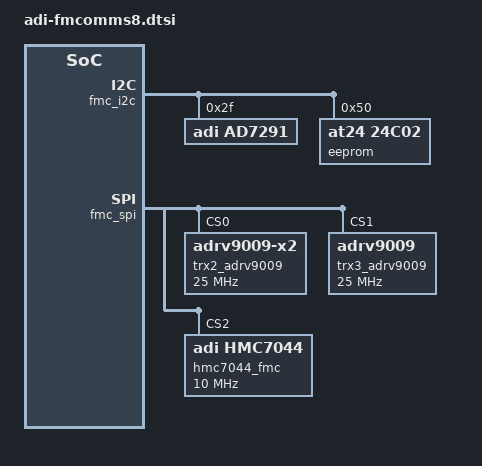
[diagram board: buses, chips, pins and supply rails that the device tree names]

&fmc_i2c {
	ad7291@2f {
		compatible = "adi,ad7291";
		reg = <0x2f>;
	};

	eeprom@50 {
		compatible = "at24,24c02";
		reg = <0x50>;
	};
};

&fmc_spi {
	trx2_adrv9009: adrv9009-phy-c@0 {
		compatible = "adrv9009-x2";
		reg = <0>;

		#address-cells = <1>;
		#size-cells = <0>;

		/* SPI Setup */
		spi-max-frequency = <25000000>;

		clock-output-names = "rx_sampl_clk", "rx_os_sampl_clk", "tx_sampl_clk";
		#clock-cells = <1>;

		/* JESD204 */

		/* JESD204 RX */
		adi,jesd204-framer-a-bank-id = <1>;
		adi,jesd204-framer-a-device-id = <0>;
		adi,jesd204-framer-a-lane0-id = <0>;
		adi,jesd204-framer-a-m = <4>;
		adi,jesd204-framer-a-k = <32>;
		adi,jesd204-framer-a-f = <4>;
		adi,jesd204-framer-a-np = <16>;
		adi,jesd204-framer-a-scramble = <1>;
		adi,jesd204-framer-a-external-sysref = <1>;
		adi,jesd204-framer-a-serializer-lanes-enabled = <0x03>;
		adi,jesd204-framer-a-serializer-lane-crossbar = <0xE4>;
		adi,jesd204-framer-a-lmfc-offset = <5>;
		adi,jesd204-framer-a-new-sysref-on-relink = <0>;
		adi,jesd204-framer-a-syncb-in-select = <0>;
		adi,jesd204-framer-a-over-sample = <0>;
		adi,jesd204-framer-a-syncb-in-lvds-mode = <1>;
		adi,jesd204-framer-a-syncb-in-lvds-pn-invert = <0>;
		adi,jesd204-framer-a-enable-manual-lane-xbar = <0>;

		/* JESD204 OBS */
		adi,jesd204-framer-b-bank-id = <0>;
		adi,jesd204-framer-b-device-id = <0>;
		adi,jesd204-framer-b-lane0-id = <0>;
		adi,jesd204-framer-b-m = <2>;
		adi,jesd204-framer-b-k = <32>;
		adi,jesd204-framer-b-f = <4>;
		adi,jesd204-framer-b-np = <16>;
		adi,jesd204-framer-b-scramble = <1>;
		adi,jesd204-framer-b-external-sysref = <1>;
		adi,jesd204-framer-b-serializer-lanes-enabled = <0x0C>;
		adi,jesd204-framer-b-serializer-lane-crossbar = <0xE4>;
		adi,jesd204-framer-b-lmfc-offset = <5>;
		adi,jesd204-framer-b-new-sysref-on-relink = <0>;
		adi,jesd204-framer-b-syncb-in-select = <1>;
		adi,jesd204-framer-b-over-sample = <0>;
		adi,jesd204-framer-b-syncb-in-lvds-mode = <1>;
		adi,jesd204-framer-b-syncb-in-lvds-pn-invert = <0>;
		adi,jesd204-framer-b-enable-manual-lane-xbar = <0>;

		/* JESD204 TX */
		adi,jesd204-deframer-a-bank-id = <0>;
		adi,jesd204-deframer-a-device-id = <0>;
		adi,jesd204-deframer-a-lane0-id = <0>;
		adi,jesd204-deframer-a-m = <4>;
		adi,jesd204-deframer-a-k = <32>;
		adi,jesd204-deframer-a-scramble = <1>;
		adi,jesd204-deframer-a-external-sysref = <1>;
		adi,jesd204-deframer-a-deserializer-lanes-enabled = <0x0F>;
		adi,jesd204-deframer-a-deserializer-lane-crossbar = <0xE4>;
		adi,jesd204-deframer-a-lmfc-offset = <1>;
		adi,jesd204-deframer-a-new-sysref-on-relink = <0>;
		adi,jesd204-deframer-a-syncb-out-select = <0>;
		adi,jesd204-deframer-a-np = <16>;
		adi,jesd204-deframer-a-syncb-out-lvds-mode = <1>;
		adi,jesd204-deframer-a-syncb-out-lvds-pn-invert = <0>;
		adi,jesd204-deframer-a-syncb-out-cmos-slew-rate = <0>;
		adi,jesd204-deframer-a-syncb-out-cmos-drive-level = <0>;
		adi,jesd204-deframer-a-enable-manual-lane-xbar = <0>;

		adi,jesd204-ser-amplitude = <15>;
		adi,jesd204-ser-pre-emphasis = <1>;
		adi,jesd204-ser-invert-lane-polarity = <0>;
		adi,jesd204-des-invert-lane-polarity = <0>;
		adi,jesd204-des-eq-setting = <1>;
		adi,jesd204-sysref-lvds-mode = <1>;
		adi,jesd204-sysref-lvds-pn-invert = <0>;

		/* RX */

		adi,rx-profile-rx-fir-gain_db = <(-6)>;
		adi,rx-profile-rx-fir-num-fir-coefs = <48>;
		adi,rx-profile-rx-fir-coefs = /bits/ 16 <(-2) (23) (46) (-17) (-104) (10) (208) (23) (-370) (-97) (607) (240) (-942) (-489) (1407) (910) (-2065) (-1637) (3058) (2995) (-4912) (-6526) (9941) (30489) (30489) (9941) (-6526) (-4912) (2995) (3058) (-1637) (-2065) (910) (1407) (-489) (-942) (240) (607) (-97) (-370) (23) (208) (10) (-104) (-17) (46) (23) (-2)>;

		adi,rx-profile-rx-fir-decimation = <2>;
		adi,rx-profile-rx-dec5-decimation = <4>;
		adi,rx-profile-rhb1-decimation = <1>;
		adi,rx-profile-rx-output-rate_khz = <245760>;
		adi,rx-profile-rf-bandwidth_hz = <200000000>;
		adi,rx-profile-rx-bbf3d-bcorner_khz = <200000>;
		adi,rx-profile-rx-adc-profile = /bits/ 16 <182 142 173 90 1280 982 1335 96 1369 48 1012 18 48 48 37 208 0 0 0 0 52 0 7 6 42 0 7 6 42 0 25 27 0 0 25 27 0 0 165 44 31 905>;
		adi,rx-profile-rx-ddc-mode = <0>;

		adi,rx-nco-shifter-band-a-input-band-width_khz = <0>;
		adi,rx-nco-shifter-band-a-input-center-freq_khz = <0>;
		adi,rx-nco-shifter-band-a-nco1-freq_khz = <0>;
		adi,rx-nco-shifter-band-a-nco2-freq_khz = <0>;
		adi,rx-nco-shifter-band-binput-band-width_khz = <0>;
		adi,rx-nco-shifter-band-binput-center-freq_khz = <0>;
		adi,rx-nco-shifter-band-bnco1-freq_khz = <0>;
		adi,rx-nco-shifter-band-bnco2-freq_khz = <0>;

		adi,rx-gain-control-gain-mode = <0>;
		adi,rx-gain-control-rx1-gain-index = <255>;
		adi,rx-gain-control-rx2-gain-index = <255>;
		adi,rx-gain-control-rx1-max-gain-index = <255>;
		adi,rx-gain-control-rx1-min-gain-index = <195>;
		adi,rx-gain-control-rx2-max-gain-index = <255>;
		adi,rx-gain-control-rx2-min-gain-index = <195>;

		adi,rx-settings-framer-sel = <0>;
		adi,rx-settings-rx-channels = <3>;

		/* ORX */

		adi,orx-profile-rx-fir-gain_db = <6>;
		adi,orx-profile-rx-fir-num-fir-coefs = <24>;
		adi,orx-profile-rx-fir-coefs = /bits/ 16  <(-10) (7) (-10) (-12) (6) (-12) (16) (-16) (1) (63) (-431) (17235) (-431) (63) (1) (-16) (16) (-12) (6) (-12) (-10) (7) (-10) (0)>;
		adi,orx-profile-rx-fir-decimation = <1>;
		adi,orx-profile-rx-dec5-decimation = <4>;
		adi,orx-profile-rhb1-decimation = <2>;
		adi,orx-profile-orx-output-rate_khz = <245760>;
		adi,orx-profile-rf-bandwidth_hz = <200000000>;
		adi,orx-profile-rx-bbf3d-bcorner_khz = <225000>;
		adi,orx-profile-orx-low-pass-adc-profile = /bits/ 16  <185 141 172 90 1280 942 1332 90 1368 46 1016 19 48 48 37 208 0 0 0 0 52 0 7 6 42 0 7 6 42 0 25 27 0 0 25 27 0 0 165 44 31 905>;
		adi,orx-profile-orx-band-pass-adc-profile = /bits/ 16  <0 0 0 0 0 0 0 0 0 0 0 0 0 0 0 0 0 0 0 0 0 0 0 0 0 0 0 0 0 0 0 0 0 0 0 0 0 0 0 0 0 0>;
		adi,orx-profile-orx-ddc-mode = <0>;
		adi,orx-profile-orx-merge-filter = /bits/ 16  <0 0 0 0 0 0 0 0 0 0 0 0>;

		adi,orx-gain-control-gain-mode = <0>;
		adi,orx-gain-control-orx1-gain-index = <255>;
		adi,orx-gain-control-orx2-gain-index = <255>;
		adi,orx-gain-control-orx1-max-gain-index = <255>;
		adi,orx-gain-control-orx1-min-gain-index = <195>;
		adi,orx-gain-control-orx2-max-gain-index = <255>;
		adi,orx-gain-control-orx2-min-gain-index = <195>;

		adi,obs-settings-framer-sel = <1>;
		adi,obs-settings-obs-rx-channels-enable = <3>;
		adi,obs-settings-obs-rx-lo-source = <0>;

		/* TX */

		adi,tx-profile-tx-fir-gain_db = <6>;
		adi,tx-profile-tx-fir-num-fir-coefs = <40>;
		adi,tx-profile-tx-fir-coefs = /bits/ 16  <(-14) (5) (-9) (6) (-4) (19) (-29) (27) (-30) (46) (-63) (77) (-103) (150) (-218) (337) (-599) (1266) (-2718) (19537) (-2718) (1266) (-599) (337) (-218) (150) (-103) (77) (-63) (46) (-30) (27) (-29) (19) (-4) (6) (-9) (5) (-14) (0)>;

		adi,tx-profile-dac-div = <1>;

		adi,tx-profile-tx-fir-interpolation = <1>;
		adi,tx-profile-thb1-interpolation = <2>;
		adi,tx-profile-thb2-interpolation = <2>;
		adi,tx-profile-thb3-interpolation = <2>;
		adi,tx-profile-tx-int5-interpolation = <1>;
		adi,tx-profile-tx-input-rate_khz = <245760>;
		adi,tx-profile-primary-sig-bandwidth_hz = <100000000>;
		adi,tx-profile-rf-bandwidth_hz = <225000000>;
		adi,tx-profile-tx-dac3d-bcorner_khz = <225000>;
		adi,tx-profile-tx-bbf3d-bcorner_khz = <113000>;
		adi,tx-profile-loop-back-adc-profile = /bits/ 16 <206 132 168 90 1280 641 1307 53 1359 28 1039 30 48 48 37 210 0 0 0 0 53 0 7 6 42 0 7 6 42 0 25 27 0 0 25 27 0 0 165 44 31 905>;

		adi,tx-settings-deframer-sel = <0>;
		adi,tx-settings-tx-channels = <3>;
		adi,tx-settings-tx-atten-step-size = <0>;
		adi,tx-settings-tx1-atten_md-b = <10000>;
		adi,tx-settings-tx2-atten_md-b = <10000>;
		adi,tx-settings-dis-tx-data-if-pll-unlock = <0>;

		/* Clocks */

		adi,dig-clocks-device-clock_khz = <245760>;
		adi,dig-clocks-clk-pll-vco-freq_khz = <9830400>;
		adi,dig-clocks-clk-pll-hs-div = <1>;
		adi,dig-clocks-rf-pll-use-external-lo = <0>;
		adi,dig-clocks-rf-pll-phase-sync-mode = <3>;

		/* AGC */

		adi,rxagc-peak-agc-under-range-low-interval_ns = <205>;
		adi,rxagc-peak-agc-under-range-mid-interval = <2>;
		adi,rxagc-peak-agc-under-range-high-interval = <4>;
		adi,rxagc-peak-apd-high-thresh = <39>;
		adi,rxagc-peak-apd-low-gain-mode-high-thresh = <36>;
		adi,rxagc-peak-apd-low-thresh = <23>;
		adi,rxagc-peak-apd-low-gain-mode-low-thresh = <19>;
		adi,rxagc-peak-apd-upper-thresh-peak-exceeded-cnt = <6>;
		adi,rxagc-peak-apd-lower-thresh-peak-exceeded-cnt = <3>;
		adi,rxagc-peak-apd-gain-step-attack = <4>;
		adi,rxagc-peak-apd-gain-step-recovery = <2>;
		adi,rxagc-peak-enable-hb2-overload = <1>;
		adi,rxagc-peak-hb2-overload-duration-cnt = <1>;
		adi,rxagc-peak-hb2-overload-thresh-cnt = <4>;
		adi,rxagc-peak-hb2-high-thresh = <181>;
		adi,rxagc-peak-hb2-under-range-low-thresh = <45>;
		adi,rxagc-peak-hb2-under-range-mid-thresh = <90>;
		adi,rxagc-peak-hb2-under-range-high-thresh = <128>;
		adi,rxagc-peak-hb2-upper-thresh-peak-exceeded-cnt = <6>;
		adi,rxagc-peak-hb2-lower-thresh-peak-exceeded-cnt = <3>;
		adi,rxagc-peak-hb2-gain-step-high-recovery = <2>;
		adi,rxagc-peak-hb2-gain-step-low-recovery = <4>;
		adi,rxagc-peak-hb2-gain-step-mid-recovery = <8>;
		adi,rxagc-peak-hb2-gain-step-attack = <4>;
		adi,rxagc-peak-hb2-overload-power-mode = <1>;
		adi,rxagc-peak-hb2-ovrg-sel = <0>;
		adi,rxagc-peak-hb2-thresh-config = <3>;

		adi,rxagc-power-power-enable-measurement = <1>;
		adi,rxagc-power-power-use-rfir-out = <1>;
		adi,rxagc-power-power-use-bbdc2 = <0>;
		adi,rxagc-power-under-range-high-power-thresh = <9>;
		adi,rxagc-power-under-range-low-power-thresh = <2>;
		adi,rxagc-power-under-range-high-power-gain-step-recovery = <4>;
		adi,rxagc-power-under-range-low-power-gain-step-recovery = <4>;
		adi,rxagc-power-power-measurement-duration = <5>;
		adi,rxagc-power-rx1-tdd-power-meas-duration = <5>;
		adi,rxagc-power-rx1-tdd-power-meas-delay = <1>;
		adi,rxagc-power-rx2-tdd-power-meas-duration = <5>;
		adi,rxagc-power-rx2-tdd-power-meas-delay = <1>;
		adi,rxagc-power-upper0-power-thresh = <2>;
		adi,rxagc-power-upper1-power-thresh = <0>;
		adi,rxagc-power-power-log-shift = <0>;

		adi,rxagc-agc-peak-wait-time = <4>;
		adi,rxagc-agc-rx1-max-gain-index = <255>;
		adi,rxagc-agc-rx1-min-gain-index = <195>;
		adi,rxagc-agc-rx2-max-gain-index = <255>;
		adi,rxagc-agc-rx2-min-gain-index = <195>;
		adi,rxagc-agc-gain-update-counter_us = <250>;
		adi,rxagc-agc-rx1-attack-delay = <10>;
		adi,rxagc-agc-rx2-attack-delay = <10>;
		adi,rxagc-agc-slow-loop-settling-delay = <16>;
		adi,rxagc-agc-low-thresh-prevent-gain = <0>;
		adi,rxagc-agc-change-gain-if-thresh-high = <1>;
		adi,rxagc-agc-peak-thresh-gain-control-mode = <1>;
		adi,rxagc-agc-reset-on-rxon = <0>;
		adi,rxagc-agc-enable-sync-pulse-for-gain-counter = <0>;
		adi,rxagc-agc-enable-ip3-optimization-thresh = <0>;
		adi,rxagc-ip3-over-range-thresh = <31>;
		adi,rxagc-ip3-over-range-thresh-index = <246>;
		adi,rxagc-ip3-peak-exceeded-cnt = <4>;
		adi,rxagc-agc-enable-fast-recovery-loop = <0>;


		/* Misc */

		adi,aux-dac-enables = <0x00>; /* Mask */

		adi,aux-dac-vref0 = <3>;
		adi,aux-dac-resolution0 = <0>;
		adi,aux-dac-values0 = <0>;
		adi,aux-dac-vref1 = <3>;
		adi,aux-dac-resolution1 = <0>;
		adi,aux-dac-values1 = <0>;
		adi,aux-dac-vref2 = <3>;
		adi,aux-dac-resolution2 = <0>;
		adi,aux-dac-values2 = <0>;
		adi,aux-dac-vref3 = <3>;
		adi,aux-dac-resolution3 = <0>;
		adi,aux-dac-values3 = <0>;
		adi,aux-dac-vref4 = <3>;
		adi,aux-dac-resolution4 = <0>;
		adi,aux-dac-values4 = <0>;
		adi,aux-dac-vref5 = <3>;
		adi,aux-dac-resolution5 = <0>;
		adi,aux-dac-values5 = <0>;
		adi,aux-dac-vref6 = <3>;
		adi,aux-dac-resolution6 = <0>;
		adi,aux-dac-values6 = <0>;
		adi,aux-dac-vref7 = <3>;
		adi,aux-dac-resolution7 = <0>;
		adi,aux-dac-values7 = <0>;
		adi,aux-dac-vref8 = <3>;
		adi,aux-dac-resolution8 = <0>;
		adi,aux-dac-values8 = <0>;
		adi,aux-dac-vref9 = <3>;
		adi,aux-dac-resolution9 = <0>;
		adi,aux-dac-values9 = <0>;
		adi,aux-dac-vref10 = <3>;
		adi,aux-dac-resolution10 = <0>;
		adi,aux-dac-values10 = <0>;
		adi,aux-dac-vref11 = <3>;
		adi,aux-dac-resolution11 = <0>;
		adi,aux-dac-values11 = <0>;

		adi,arm-gpio-config-orx1-tx-sel0-pin-gpio-pin-sel = <0>;
		adi,arm-gpio-config-orx1-tx-sel0-pin-polarity = <0>;
		adi,arm-gpio-config-orx1-tx-sel0-pin-enable = <0>;

		adi,arm-gpio-config-orx1-tx-sel1-pin-gpio-pin-sel = <0>;
		adi,arm-gpio-config-orx1-tx-sel1-pin-polarity = <0>;
		adi,arm-gpio-config-orx1-tx-sel1-pin-enable = <0>;
		adi,arm-gpio-config-orx2-tx-sel0-pin-gpio-pin-sel = <0>;
		adi,arm-gpio-config-orx2-tx-sel0-pin-polarity = <0>;
		adi,arm-gpio-config-orx2-tx-sel0-pin-enable = <0>;

		adi,arm-gpio-config-orx2-tx-sel1-pin-gpio-pin-sel = <0>;
		adi,arm-gpio-config-orx2-tx-sel1-pin-polarity = <0>;
		adi,arm-gpio-config-orx2-tx-sel1-pin-enable = <0>;
		adi,arm-gpio-config-en-tx-tracking-cals-gpio-pin-sel = <0>;
		adi,arm-gpio-config-en-tx-tracking-cals-polarity = <0>;
		adi,arm-gpio-config-en-tx-tracking-cals-enable = <0>;

		adi,orx-lo-cfg-disable-aux-pll-relocking = <0>;
		adi,orx-lo-cfg-gpio-select = <19>;

		adi,fhm-config-fhm-gpio-pin = <0>;
		adi,fhm-config-fhm-min-freq_mhz = <2400>;
		adi,fhm-config-fhm-max-freq_mhz = <2500>;

		adi,fhm-mode-fhm-enable = <0>;
		adi,fhm-mode-enable-mcs-sync = <0>;
		adi,fhm-mode-fhm-trigger-mode = <0>;
		adi,fhm-mode-fhm-exit-mode = <1>;
		adi,fhm-mode-fhm-init-frequency_hz = <2450000000>;

		adi,rx1-gain-ctrl-pin-inc-step = <1>;
		adi,rx1-gain-ctrl-pin-dec-step = <1>;
		adi,rx1-gain-ctrl-pin-rx-gain-inc-pin = <0>;
		adi,rx1-gain-ctrl-pin-rx-gain-dec-pin = <1>;
		adi,rx1-gain-ctrl-pin-enable = <0>;

		adi,rx2-gain-ctrl-pin-inc-step = <1>;
		adi,rx2-gain-ctrl-pin-dec-step = <1>;
		adi,rx2-gain-ctrl-pin-rx-gain-inc-pin = <3>;
		adi,rx2-gain-ctrl-pin-rx-gain-dec-pin = <4>;
		adi,rx2-gain-ctrl-pin-enable = <0>;

		adi,tx1-atten-ctrl-pin-step-size = <0>;
		adi,tx1-atten-ctrl-pin-tx-atten-inc-pin = <4>;
		adi,tx1-atten-ctrl-pin-tx-atten-dec-pin = <5>;
		adi,tx1-atten-ctrl-pin-enable = <0>;

		adi,tx2-atten-ctrl-pin-step-size = <0>;
		adi,tx2-atten-ctrl-pin-tx-atten-inc-pin = <6>;
		adi,tx2-atten-ctrl-pin-tx-atten-dec-pin = <7>;
		adi,tx2-atten-ctrl-pin-enable = <0>;

		adi,tx-pa-protection-avg-duration = <3>;
		adi,tx-pa-protection-tx-atten-step = <2>;
		adi,tx-pa-protection-tx1-power-threshold = <4096>;
		adi,tx-pa-protection-tx2-power-threshold = <4096>;
		adi,tx-pa-protection-peak-count = <4>;
		adi,tx-pa-protection-tx1-peak-threshold = <140>;
		adi,tx-pa-protection-tx2-peak-threshold = <140>;
	};

	trx3_adrv9009: adrv9009-phy-d@1 {
		compatible = "adrv9009";
		reg = <1>;

		#address-cells = <1>;
		#size-cells = <0>;

		/* SPI Setup */
		spi-max-frequency = <25000000>;

		clock-output-names = "rx_sampl_clk", "rx_os_sampl_clk", "tx_sampl_clk";
		#clock-cells = <1>;

		/* JESD204 */

		/* JESD204 RX */
		adi,jesd204-framer-a-bank-id = <1>;
		adi,jesd204-framer-a-device-id = <0>;
		adi,jesd204-framer-a-lane0-id = <0>;
		adi,jesd204-framer-a-m = <4>;
		adi,jesd204-framer-a-k = <32>;
		adi,jesd204-framer-a-f = <4>;
		adi,jesd204-framer-a-np = <16>;
		adi,jesd204-framer-a-scramble = <1>;
		adi,jesd204-framer-a-external-sysref = <1>;
		adi,jesd204-framer-a-serializer-lanes-enabled = <0x03>;
		adi,jesd204-framer-a-serializer-lane-crossbar = <0xE4>;
		adi,jesd204-framer-a-lmfc-offset = <5>;
		adi,jesd204-framer-a-new-sysref-on-relink = <0>;
		adi,jesd204-framer-a-syncb-in-select = <0>;
		adi,jesd204-framer-a-over-sample = <0>;
		adi,jesd204-framer-a-syncb-in-lvds-mode = <1>;
		adi,jesd204-framer-a-syncb-in-lvds-pn-invert = <0>;
		adi,jesd204-framer-a-enable-manual-lane-xbar = <0>;

		/* JESD204 OBS */
		adi,jesd204-framer-b-bank-id = <0>;
		adi,jesd204-framer-b-device-id = <0>;
		adi,jesd204-framer-b-lane0-id = <0>;
		adi,jesd204-framer-b-m = <2>;
		adi,jesd204-framer-b-k = <32>;
		adi,jesd204-framer-b-f = <4>;
		adi,jesd204-framer-b-np = <16>;
		adi,jesd204-framer-b-scramble = <1>;
		adi,jesd204-framer-b-external-sysref = <1>;
		adi,jesd204-framer-b-serializer-lanes-enabled = <0x0C>;
		adi,jesd204-framer-b-serializer-lane-crossbar = <0xE4>;
		adi,jesd204-framer-b-lmfc-offset = <5>;
		adi,jesd204-framer-b-new-sysref-on-relink = <0>;
		adi,jesd204-framer-b-syncb-in-select = <1>;
		adi,jesd204-framer-b-over-sample = <0>;
		adi,jesd204-framer-b-syncb-in-lvds-mode = <1>;
		adi,jesd204-framer-b-syncb-in-lvds-pn-invert = <0>;
		adi,jesd204-framer-b-enable-manual-lane-xbar = <0>;

		/* JESD204 TX */
		adi,jesd204-deframer-a-bank-id = <0>;
		adi,jesd204-deframer-a-device-id = <0>;
		adi,jesd204-deframer-a-lane0-id = <0>;
		adi,jesd204-deframer-a-m = <4>;
		adi,jesd204-deframer-a-k = <32>;
		adi,jesd204-deframer-a-scramble = <1>;
		adi,jesd204-deframer-a-external-sysref = <1>;
		adi,jesd204-deframer-a-deserializer-lanes-enabled = <0x0F>;
		adi,jesd204-deframer-a-deserializer-lane-crossbar = <0xE4>;
		adi,jesd204-deframer-a-lmfc-offset = <1>;
		adi,jesd204-deframer-a-new-sysref-on-relink = <0>;
		adi,jesd204-deframer-a-syncb-out-select = <0>;
		adi,jesd204-deframer-a-np = <16>;
		adi,jesd204-deframer-a-syncb-out-lvds-mode = <1>;
		adi,jesd204-deframer-a-syncb-out-lvds-pn-invert = <0>;
		adi,jesd204-deframer-a-syncb-out-cmos-slew-rate = <0>;
		adi,jesd204-deframer-a-syncb-out-cmos-drive-level = <0>;
		adi,jesd204-deframer-a-enable-manual-lane-xbar = <0>;

		adi,jesd204-ser-amplitude = <15>;
		adi,jesd204-ser-pre-emphasis = <1>;
		adi,jesd204-ser-invert-lane-polarity = <0>;
		adi,jesd204-des-invert-lane-polarity = <0>;
		adi,jesd204-des-eq-setting = <1>;
		adi,jesd204-sysref-lvds-mode = <1>;
		adi,jesd204-sysref-lvds-pn-invert = <0>;

		/* RX */

		adi,rx-profile-rx-fir-gain_db = <(-6)>;
		adi,rx-profile-rx-fir-num-fir-coefs = <48>;
		adi,rx-profile-rx-fir-coefs = /bits/ 16 <(-2) (23) (46) (-17) (-104) (10) (208) (23) (-370) (-97) (607) (240) (-942) (-489) (1407) (910) (-2065) (-1637) (3058) (2995) (-4912) (-6526) (9941) (30489) (30489) (9941) (-6526) (-4912) (2995) (3058) (-1637) (-2065) (910) (1407) (-489) (-942) (240) (607) (-97) (-370) (23) (208) (10) (-104) (-17) (46) (23) (-2)>;

		adi,rx-profile-rx-fir-decimation = <2>;
		adi,rx-profile-rx-dec5-decimation = <4>;
		adi,rx-profile-rhb1-decimation = <1>;
		adi,rx-profile-rx-output-rate_khz = <245760>;
		adi,rx-profile-rf-bandwidth_hz = <200000000>;
		adi,rx-profile-rx-bbf3d-bcorner_khz = <200000>;
		adi,rx-profile-rx-adc-profile = /bits/ 16 <182 142 173 90 1280 982 1335 96 1369 48 1012 18 48 48 37 208 0 0 0 0 52 0 7 6 42 0 7 6 42 0 25 27 0 0 25 27 0 0 165 44 31 905>;
		adi,rx-profile-rx-ddc-mode = <0>;

		adi,rx-nco-shifter-band-a-input-band-width_khz = <0>;
		adi,rx-nco-shifter-band-a-input-center-freq_khz = <0>;
		adi,rx-nco-shifter-band-a-nco1-freq_khz = <0>;
		adi,rx-nco-shifter-band-a-nco2-freq_khz = <0>;
		adi,rx-nco-shifter-band-binput-band-width_khz = <0>;
		adi,rx-nco-shifter-band-binput-center-freq_khz = <0>;
		adi,rx-nco-shifter-band-bnco1-freq_khz = <0>;
		adi,rx-nco-shifter-band-bnco2-freq_khz = <0>;

		adi,rx-gain-control-gain-mode = <0>;
		adi,rx-gain-control-rx1-gain-index = <255>;
		adi,rx-gain-control-rx2-gain-index = <255>;
		adi,rx-gain-control-rx1-max-gain-index = <255>;
		adi,rx-gain-control-rx1-min-gain-index = <195>;
		adi,rx-gain-control-rx2-max-gain-index = <255>;
		adi,rx-gain-control-rx2-min-gain-index = <195>;

		adi,rx-settings-framer-sel = <0>;
		adi,rx-settings-rx-channels = <3>;

		/* ORX */

		adi,orx-profile-rx-fir-gain_db = <6>;
		adi,orx-profile-rx-fir-num-fir-coefs = <24>;
		adi,orx-profile-rx-fir-coefs = /bits/ 16  <(-10) (7) (-10) (-12) (6) (-12) (16) (-16) (1) (63) (-431) (17235) (-431) (63) (1) (-16) (16) (-12) (6) (-12) (-10) (7) (-10) (0)>;
		adi,orx-profile-rx-fir-decimation = <1>;
		adi,orx-profile-rx-dec5-decimation = <4>;
		adi,orx-profile-rhb1-decimation = <2>;
		adi,orx-profile-orx-output-rate_khz = <245760>;
		adi,orx-profile-rf-bandwidth_hz = <200000000>;
		adi,orx-profile-rx-bbf3d-bcorner_khz = <225000>;
		adi,orx-profile-orx-low-pass-adc-profile = /bits/ 16  <185 141 172 90 1280 942 1332 90 1368 46 1016 19 48 48 37 208 0 0 0 0 52 0 7 6 42 0 7 6 42 0 25 27 0 0 25 27 0 0 165 44 31 905>;
		adi,orx-profile-orx-band-pass-adc-profile = /bits/ 16  <0 0 0 0 0 0 0 0 0 0 0 0 0 0 0 0 0 0 0 0 0 0 0 0 0 0 0 0 0 0 0 0 0 0 0 0 0 0 0 0 0 0>;
		adi,orx-profile-orx-ddc-mode = <0>;
		adi,orx-profile-orx-merge-filter = /bits/ 16  <0 0 0 0 0 0 0 0 0 0 0 0>;

		adi,orx-gain-control-gain-mode = <0>;
		adi,orx-gain-control-orx1-gain-index = <255>;
		adi,orx-gain-control-orx2-gain-index = <255>;
		adi,orx-gain-control-orx1-max-gain-index = <255>;
		adi,orx-gain-control-orx1-min-gain-index = <195>;
		adi,orx-gain-control-orx2-max-gain-index = <255>;
		adi,orx-gain-control-orx2-min-gain-index = <195>;

		adi,obs-settings-framer-sel = <1>;
		adi,obs-settings-obs-rx-channels-enable = <3>;
		adi,obs-settings-obs-rx-lo-source = <0>;

		/* TX */

		adi,tx-profile-tx-fir-gain_db = <6>;
		adi,tx-profile-tx-fir-num-fir-coefs = <40>;
		adi,tx-profile-tx-fir-coefs = /bits/ 16  <(-14) (5) (-9) (6) (-4) (19) (-29) (27) (-30) (46) (-63) (77) (-103) (150) (-218) (337) (-599) (1266) (-2718) (19537) (-2718) (1266) (-599) (337) (-218) (150) (-103) (77) (-63) (46) (-30) (27) (-29) (19) (-4) (6) (-9) (5) (-14) (0)>;

		adi,tx-profile-dac-div = <1>;

		adi,tx-profile-tx-fir-interpolation = <1>;
		adi,tx-profile-thb1-interpolation = <2>;
		adi,tx-profile-thb2-interpolation = <2>;
		adi,tx-profile-thb3-interpolation = <2>;
		adi,tx-profile-tx-int5-interpolation = <1>;
		adi,tx-profile-tx-input-rate_khz = <245760>;
		adi,tx-profile-primary-sig-bandwidth_hz = <100000000>;
		adi,tx-profile-rf-bandwidth_hz = <225000000>;
		adi,tx-profile-tx-dac3d-bcorner_khz = <225000>;
		adi,tx-profile-tx-bbf3d-bcorner_khz = <113000>;
		adi,tx-profile-loop-back-adc-profile = /bits/ 16 <206 132 168 90 1280 641 1307 53 1359 28 1039 30 48 48 37 210 0 0 0 0 53 0 7 6 42 0 7 6 42 0 25 27 0 0 25 27 0 0 165 44 31 905>;

		adi,tx-settings-deframer-sel = <0>;
		adi,tx-settings-tx-channels = <3>;
		adi,tx-settings-tx-atten-step-size = <0>;
		adi,tx-settings-tx1-atten_md-b = <10000>;
		adi,tx-settings-tx2-atten_md-b = <10000>;
		adi,tx-settings-dis-tx-data-if-pll-unlock = <0>;

		/* Clocks */

		adi,dig-clocks-device-clock_khz = <245760>;
		adi,dig-clocks-clk-pll-vco-freq_khz = <9830400>;
		adi,dig-clocks-clk-pll-hs-div = <1>;
		adi,dig-clocks-rf-pll-use-external-lo = <0>;
		adi,dig-clocks-rf-pll-phase-sync-mode = <3>;

		/* AGC */

		adi,rxagc-peak-agc-under-range-low-interval_ns = <205>;
		adi,rxagc-peak-agc-under-range-mid-interval = <2>;
		adi,rxagc-peak-agc-under-range-high-interval = <4>;
		adi,rxagc-peak-apd-high-thresh = <39>;
		adi,rxagc-peak-apd-low-gain-mode-high-thresh = <36>;
		adi,rxagc-peak-apd-low-thresh = <23>;
		adi,rxagc-peak-apd-low-gain-mode-low-thresh = <19>;
		adi,rxagc-peak-apd-upper-thresh-peak-exceeded-cnt = <6>;
		adi,rxagc-peak-apd-lower-thresh-peak-exceeded-cnt = <3>;
		adi,rxagc-peak-apd-gain-step-attack = <4>;
		adi,rxagc-peak-apd-gain-step-recovery = <2>;
		adi,rxagc-peak-enable-hb2-overload = <1>;
		adi,rxagc-peak-hb2-overload-duration-cnt = <1>;
		adi,rxagc-peak-hb2-overload-thresh-cnt = <4>;
		adi,rxagc-peak-hb2-high-thresh = <181>;
		adi,rxagc-peak-hb2-under-range-low-thresh = <45>;
		adi,rxagc-peak-hb2-under-range-mid-thresh = <90>;
		adi,rxagc-peak-hb2-under-range-high-thresh = <128>;
		adi,rxagc-peak-hb2-upper-thresh-peak-exceeded-cnt = <6>;
		adi,rxagc-peak-hb2-lower-thresh-peak-exceeded-cnt = <3>;
		adi,rxagc-peak-hb2-gain-step-high-recovery = <2>;
		adi,rxagc-peak-hb2-gain-step-low-recovery = <4>;
		adi,rxagc-peak-hb2-gain-step-mid-recovery = <8>;
		adi,rxagc-peak-hb2-gain-step-attack = <4>;
		adi,rxagc-peak-hb2-overload-power-mode = <1>;
		adi,rxagc-peak-hb2-ovrg-sel = <0>;
		adi,rxagc-peak-hb2-thresh-config = <3>;

		adi,rxagc-power-power-enable-measurement = <1>;
		adi,rxagc-power-power-use-rfir-out = <1>;
		adi,rxagc-power-power-use-bbdc2 = <0>;
		adi,rxagc-power-under-range-high-power-thresh = <9>;
		adi,rxagc-power-under-range-low-power-thresh = <2>;
		adi,rxagc-power-under-range-high-power-gain-step-recovery = <4>;
		adi,rxagc-power-under-range-low-power-gain-step-recovery = <4>;
		adi,rxagc-power-power-measurement-duration = <5>;
		adi,rxagc-power-rx1-tdd-power-meas-duration = <5>;
		adi,rxagc-power-rx1-tdd-power-meas-delay = <1>;
		adi,rxagc-power-rx2-tdd-power-meas-duration = <5>;
		adi,rxagc-power-rx2-tdd-power-meas-delay = <1>;
		adi,rxagc-power-upper0-power-thresh = <2>;
		adi,rxagc-power-upper1-power-thresh = <0>;
		adi,rxagc-power-power-log-shift = <0>;

		adi,rxagc-agc-peak-wait-time = <4>;
		adi,rxagc-agc-rx1-max-gain-index = <255>;
		adi,rxagc-agc-rx1-min-gain-index = <195>;
		adi,rxagc-agc-rx2-max-gain-index = <255>;
		adi,rxagc-agc-rx2-min-gain-index = <195>;
		adi,rxagc-agc-gain-update-counter_us = <250>;
		adi,rxagc-agc-rx1-attack-delay = <10>;
		adi,rxagc-agc-rx2-attack-delay = <10>;
		adi,rxagc-agc-slow-loop-settling-delay = <16>;
		adi,rxagc-agc-low-thresh-prevent-gain = <0>;
		adi,rxagc-agc-change-gain-if-thresh-high = <1>;
		adi,rxagc-agc-peak-thresh-gain-control-mode = <1>;
		adi,rxagc-agc-reset-on-rxon = <0>;
		adi,rxagc-agc-enable-sync-pulse-for-gain-counter = <0>;
		adi,rxagc-agc-enable-ip3-optimization-thresh = <0>;
		adi,rxagc-ip3-over-range-thresh = <31>;
		adi,rxagc-ip3-over-range-thresh-index = <246>;
		adi,rxagc-ip3-peak-exceeded-cnt = <4>;
		adi,rxagc-agc-enable-fast-recovery-loop = <0>;


		/* Misc */

		adi,aux-dac-enables = <0x00>; /* Mask */

		adi,aux-dac-vref0 = <3>;
		adi,aux-dac-resolution0 = <0>;
		adi,aux-dac-values0 = <0>;
		adi,aux-dac-vref1 = <3>;
		adi,aux-dac-resolution1 = <0>;
		adi,aux-dac-values1 = <0>;
		adi,aux-dac-vref2 = <3>;
		adi,aux-dac-resolution2 = <0>;
		adi,aux-dac-values2 = <0>;
		adi,aux-dac-vref3 = <3>;
		adi,aux-dac-resolution3 = <0>;
		adi,aux-dac-values3 = <0>;
		adi,aux-dac-vref4 = <3>;
		adi,aux-dac-resolution4 = <0>;
		adi,aux-dac-values4 = <0>;
		adi,aux-dac-vref5 = <3>;
		adi,aux-dac-resolution5 = <0>;
		adi,aux-dac-values5 = <0>;
		adi,aux-dac-vref6 = <3>;
		adi,aux-dac-resolution6 = <0>;
		adi,aux-dac-values6 = <0>;
		adi,aux-dac-vref7 = <3>;
		adi,aux-dac-resolution7 = <0>;
		adi,aux-dac-values7 = <0>;
		adi,aux-dac-vref8 = <3>;
		adi,aux-dac-resolution8 = <0>;
		adi,aux-dac-values8 = <0>;
		adi,aux-dac-vref9 = <3>;
		adi,aux-dac-resolution9 = <0>;
		adi,aux-dac-values9 = <0>;
		adi,aux-dac-vref10 = <3>;
		adi,aux-dac-resolution10 = <0>;
		adi,aux-dac-values10 = <0>;
		adi,aux-dac-vref11 = <3>;
		adi,aux-dac-resolution11 = <0>;
		adi,aux-dac-values11 = <0>;

		adi,arm-gpio-config-orx1-tx-sel0-pin-gpio-pin-sel = <0>;
		adi,arm-gpio-config-orx1-tx-sel0-pin-polarity = <0>;
		adi,arm-gpio-config-orx1-tx-sel0-pin-enable = <0>;

		adi,arm-gpio-config-orx1-tx-sel1-pin-gpio-pin-sel = <0>;
		adi,arm-gpio-config-orx1-tx-sel1-pin-polarity = <0>;
		adi,arm-gpio-config-orx1-tx-sel1-pin-enable = <0>;
		adi,arm-gpio-config-orx2-tx-sel0-pin-gpio-pin-sel = <0>;
		adi,arm-gpio-config-orx2-tx-sel0-pin-polarity = <0>;
		adi,arm-gpio-config-orx2-tx-sel0-pin-enable = <0>;

		adi,arm-gpio-config-orx2-tx-sel1-pin-gpio-pin-sel = <0>;
		adi,arm-gpio-config-orx2-tx-sel1-pin-polarity = <0>;
		adi,arm-gpio-config-orx2-tx-sel1-pin-enable = <0>;
		adi,arm-gpio-config-en-tx-tracking-cals-gpio-pin-sel = <0>;
		adi,arm-gpio-config-en-tx-tracking-cals-polarity = <0>;
		adi,arm-gpio-config-en-tx-tracking-cals-enable = <0>;

		adi,orx-lo-cfg-disable-aux-pll-relocking = <0>;
		adi,orx-lo-cfg-gpio-select = <19>;

		adi,fhm-config-fhm-gpio-pin = <0>;
		adi,fhm-config-fhm-min-freq_mhz = <2400>;
		adi,fhm-config-fhm-max-freq_mhz = <2500>;

		adi,fhm-mode-fhm-enable = <0>;
		adi,fhm-mode-enable-mcs-sync = <0>;
		adi,fhm-mode-fhm-trigger-mode = <0>;
		adi,fhm-mode-fhm-exit-mode = <1>;
		adi,fhm-mode-fhm-init-frequency_hz = <2450000000>;

		adi,rx1-gain-ctrl-pin-inc-step = <1>;
		adi,rx1-gain-ctrl-pin-dec-step = <1>;
		adi,rx1-gain-ctrl-pin-rx-gain-inc-pin = <0>;
		adi,rx1-gain-ctrl-pin-rx-gain-dec-pin = <1>;
		adi,rx1-gain-ctrl-pin-enable = <0>;

		adi,rx2-gain-ctrl-pin-inc-step = <1>;
		adi,rx2-gain-ctrl-pin-dec-step = <1>;
		adi,rx2-gain-ctrl-pin-rx-gain-inc-pin = <3>;
		adi,rx2-gain-ctrl-pin-rx-gain-dec-pin = <4>;
		adi,rx2-gain-ctrl-pin-enable = <0>;

		adi,tx1-atten-ctrl-pin-step-size = <0>;
		adi,tx1-atten-ctrl-pin-tx-atten-inc-pin = <4>;
		adi,tx1-atten-ctrl-pin-tx-atten-dec-pin = <5>;
		adi,tx1-atten-ctrl-pin-enable = <0>;

		adi,tx2-atten-ctrl-pin-step-size = <0>;
		adi,tx2-atten-ctrl-pin-tx-atten-inc-pin = <6>;
		adi,tx2-atten-ctrl-pin-tx-atten-dec-pin = <7>;
		adi,tx2-atten-ctrl-pin-enable = <0>;

		adi,tx-pa-protection-avg-duration = <3>;
		adi,tx-pa-protection-tx-atten-step = <2>;
		adi,tx-pa-protection-tx1-power-threshold = <4096>;
		adi,tx-pa-protection-tx2-power-threshold = <4096>;
		adi,tx-pa-protection-peak-count = <4>;
		adi,tx-pa-protection-tx1-peak-threshold = <140>;
		adi,tx-pa-protection-tx2-peak-threshold = <140>;
	};

	hmc7044_fmc: hmc7044-fmc@2 {
		#address-cells = <1>;
		#size-cells = <0>;
		#clock-cells = <1>;
		compatible = "adi,hmc7044";
		reg = <2>;
		spi-max-frequency = <10000000>;

		adi,pll1-clkin-frequencies = <122880000 122880000 0 0>;
		adi,pll1-ref-prio-ctrl = <0xE5>; /* prefer CLKIN1 */

		adi,clkin0-buffer-mode  = <0x09>;
		adi,clkin1-buffer-mode  = <0x09>;
		adi,sync-pin-mode = <1>;

		adi,pll1-loop-bandwidth-hz = <200>;

		adi,vcxo-frequency = <122880000>;

		adi,pll2-output-frequency = <2949120000>;

		adi,sysref-timer-divider = <3840>;
		adi,pulse-generator-mode = <7>;

		adi,oscin-buffer-mode = <0x15>;

		adi,gpi-controls = <0x00 0x00 0x00 0x11>;
		adi,gpo-controls = <0x1f 0x2b 0x00 0x00>;

		adi,high-performance-mode-clock-dist-enable;
		adi,high-performance-mode-pll-vco-enable;

		clock-output-names =
			"hmc7044_fmc_out0_DEV_REFCLK_C", "hmc7044_fmc_out1_DEV_SYSREF_C",
			"hmc7044_fmc_out2_DEV_REFCLK_D", "hmc7044_fmc_out3_DEV_SYSREF_D",
			"hmc7044_fmc_out4_JESD_REFCLK_TX_OBS_CD", "hmc7044_fmc_out5_JESD_REFCLK_RX_CD",
			"hmc7044_fmc_out6_FPGA_SYSREF_TX_OBS_CD","hmc7044_fmc_out7_FPGA_SYSREF_RX_CD",
			"hmc7044_fmc_out8_CORE_CLK_TX_OBS_CD", "hmc7044_fmc_out9_CORE_CLK_RX_CD",
			"hmc7044_fmc_out10", "hmc7044_fmc_out11",
			"hmc7044_fmc_out12", "hmc7044_fmc_out13";

		hmc7044_fmc_c0: channel@0 {
			reg = <0>;
			adi,extended-name = "DEV_REFCLK_C";
			adi,divider = <12>;	// 245760000
			adi,driver-mode = <HMC7044_DRIVER_MODE_LVDS>;
			adi,coarse-digital-delay = <15>;
		};
		hmc7044_fmc_c1: channel@1 {
			reg = <1>;
			adi,extended-name = "DEV_SYSREF_C";
			adi,divider = <3840>;	// 768000
			adi,driver-mode = <HMC7044_DRIVER_MODE_LVDS>;
			adi,startup-mode-dynamic-enable;
			adi,high-performance-mode-disable;
			adi,driver-impedance-mode = <HMC7044_DRIVER_IMPEDANCE_100_OHM>;
		};
		hmc7044_fmc_c2: channel@2 {
			reg = <2>;
			adi,extended-name = "DEV_REFCLK_D";
			adi,divider = <12>;	// 245760000
			adi,driver-mode = <HMC7044_DRIVER_MODE_LVDS>;
			adi,coarse-digital-delay = <15>;
		};
		hmc7044_fmc_c3: channel@3 {
			reg = <3>;
			adi,extended-name = "DEV_SYSREF_D";
			adi,divider = <3840>;	// 768000
			adi,driver-mode = <HMC7044_DRIVER_MODE_LVDS>;
			adi,startup-mode-dynamic-enable;
			adi,high-performance-mode-disable;
			adi,driver-impedance-mode = <HMC7044_DRIVER_IMPEDANCE_100_OHM>;
		};
		hmc7044_fmc_c4: channel@4 {
			reg = <4>;
			adi,extended-name = "JESD_REFCLK_TX_OBS_CD";
			adi,divider = <12>;	// 245760000
			adi,driver-mode = <HMC7044_DRIVER_MODE_LVDS>;
		};
		hmc7044_fmc_c5: channel@5 {
			reg = <5>;
			adi,extended-name = "JESD_REFCLK_RX_CD";
			adi,divider = <12>;	// 245760000
			adi,driver-mode = <HMC7044_DRIVER_MODE_LVDS>;
		};
		hmc7044_fmc_c6: channel@6 {
			reg = <6>;
			adi,extended-name = "FPGA_SYSREF_TX_OBS_CD";
			adi,divider = <3840>;	// 768000
			adi,driver-mode = <HMC7044_DRIVER_MODE_LVDS>;
			adi,startup-mode-dynamic-enable;
			adi,high-performance-mode-disable;
		};
		hmc7044_fmc_c7: channel@7 {
			reg = <7>;
			adi,extended-name = "FPGA_SYSREF_RX_CD";
			adi,divider = <3840>;	// 768000
			adi,driver-mode = <HMC7044_DRIVER_MODE_LVDS>;
			adi,startup-mode-dynamic-enable;
			adi,high-performance-mode-disable;
		};
		hmc7044_fmc_c8: channel@8 {
			reg = <8>;
			adi,extended-name = "CORE_CLK_TX_OBS_CD";
			adi,divider = <24>;	// 122880000
			adi,driver-mode = <HMC7044_DRIVER_MODE_LVDS>;
		};
		hmc7044_fmc_c9: channel@9 {
			reg = <9>;
			adi,extended-name = "CORE_CLK_RX_CD";
			adi,divider = <12>;	// 245760000
			adi,driver-mode = <HMC7044_DRIVER_MODE_LVDS>;
		};
	};
};
